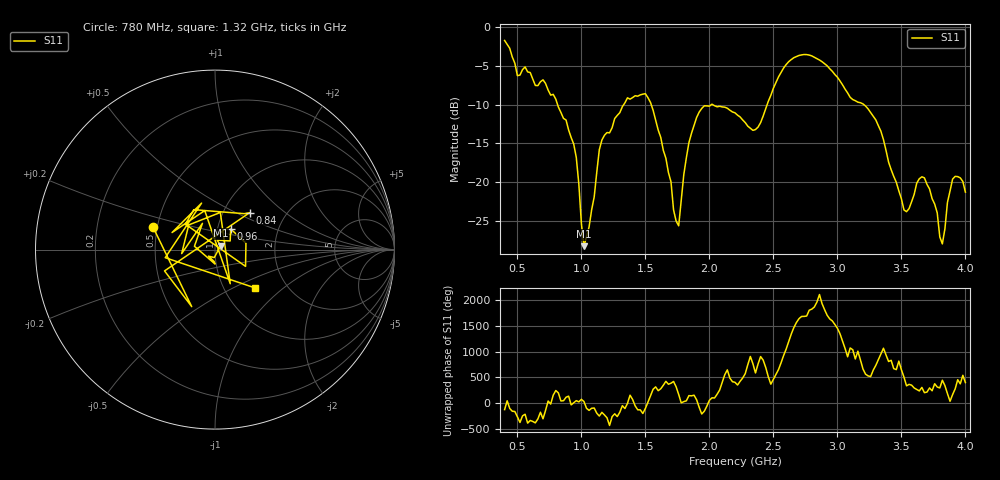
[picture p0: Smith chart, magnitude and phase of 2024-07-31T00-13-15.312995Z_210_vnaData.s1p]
!Created with skrf (http://scikit-rf.org).
# Hz S RI R 50.0
!freq ReS11 ImS11
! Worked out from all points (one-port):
!   181 points, 400 MHz to 4 GHz, reference 50 ohm
!   lowest |S11| = -28.2 dB at 1.02 GHz (marker M1), VSWR 1.08, Z = 53.2 + j2.4 ohm
!   |S11| at or under -10 dB: 814 MHz to 1.33 GHz (516.3 MHz wide, 48.2 % of centre); 1.546 GHz to 2.015 GHz (469.2 MHz wide, 26.4 % of centre); 3.207 GHz to end of sweep (the widest 3 of 4)
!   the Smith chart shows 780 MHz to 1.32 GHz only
!   S11 on the Smith chart (normalised r, x): 780 MHz: 0.47, +0.14; 840 MHz: 1.33, +0.59; 960 MHz: 1.16, +0.27; 1.32 GHz: 1.39, -0.65
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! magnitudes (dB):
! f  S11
! 400 MHz  -1.7
! 500 MHz  -6.3
! 560 MHz  -5.1
! 780 MHz  -8.7
! 840 MHz  -11.0
! 860 MHz  -11.8
! 960 MHz  -16.8
! 1.02 GHz  -28.2
! 1.16 GHz  -14.6
! 1.3 GHz  -11.0
! 1.32 GHz  -10.3
! 1.54 GHz  -9.7
! 1.76 GHz  -25.6
! 1.84 GHz  -14.9
! 1.92 GHz  -11.0
! 2.2 GHz  -11.0
! 2.36 GHz  -13.2
! 2.66 GHz  -3.9
! 2.88 GHz  -4.5
! 3.1 GHz  -9.1
! 3.3 GHz  -12.0
! 3.52 GHz  -23.6
! 3.56 GHz  -23.4
! 3.68 GHz  -19.4
! 3.78 GHz  -24.0
! 3.82 GHz  -28.0
! 3.9 GHz  -19.6
! 4 GHz  -21.3
